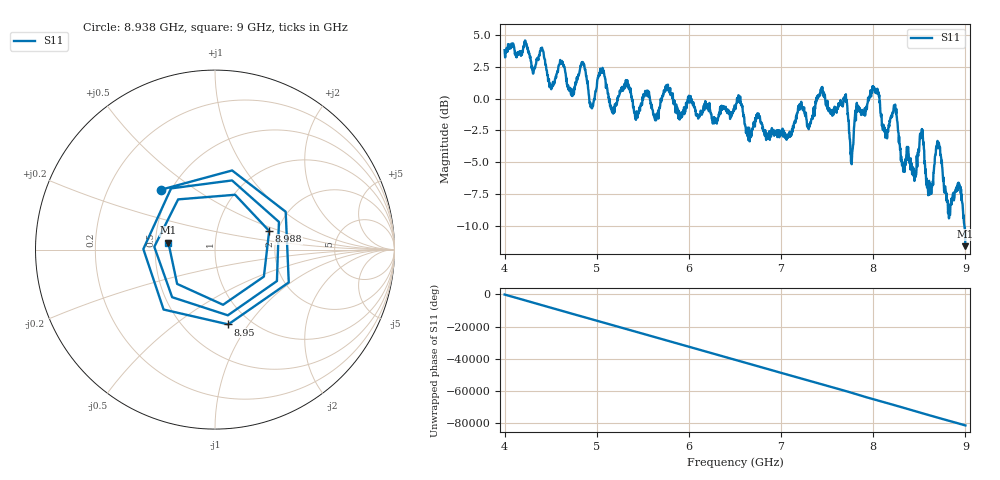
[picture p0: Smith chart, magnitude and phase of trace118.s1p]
! Created with skrf 1.8.0 (http://scikit-rf.org).
# Hz S RI R 50.0
!freq ReS11 ImS11
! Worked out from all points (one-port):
!   1601 points, 4 GHz to 9 GHz, reference 50 ohm
!   lowest |S11| = -11.6 dB at 9 GHz (marker M1), VSWR 1.71, Z = 29.3 + j2.43 ohm
!   |S11| at or under -10 dB: 8.989107 GHz to end of sweep
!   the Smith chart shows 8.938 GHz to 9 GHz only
!   S11 on the Smith chart (normalised r, x): 8.938 GHz: 0.44, +0.37; 8.95 GHz: 0.80, -0.81; 8.988 GHz: 1.80, +0.42; 9 GHz: 0.59, +0.05
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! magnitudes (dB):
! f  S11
! 4 GHz  3.8
! 4.406 GHz  4.0
! 4.509 GHz  1.0
! 4.625 GHz  2.9
! 4.728 GHz  0.3
! 4.853 GHz  2.8
! 4.944 GHz  -0.7
! 5.05 GHz  2.2
! 5.169 GHz  -1.1
! 5.25 GHz  0.6
! 5.875 GHz  -1.1
! 6.5 GHz  -0.6
! 6.653 GHz  -2.3
! 7.125 GHz  -2.6
! 7.444 GHz  0.8
! 7.697 GHz  0.3
! 7.75 GHz  -3.5
! 8.016 GHz  0.7
! 8.375 GHz  -4.6
! 8.444 GHz  -5.9
! 8.528 GHz  -2.4
! 8.619 GHz  -7.3
! 8.706 GHz  -3.4
! 8.819 GHz  -8.8
! 8.938 GHz  -6.9
! 8.95 GHz  -7.5
! 8.988 GHz  -9.9
! 9 GHz  -11.6
